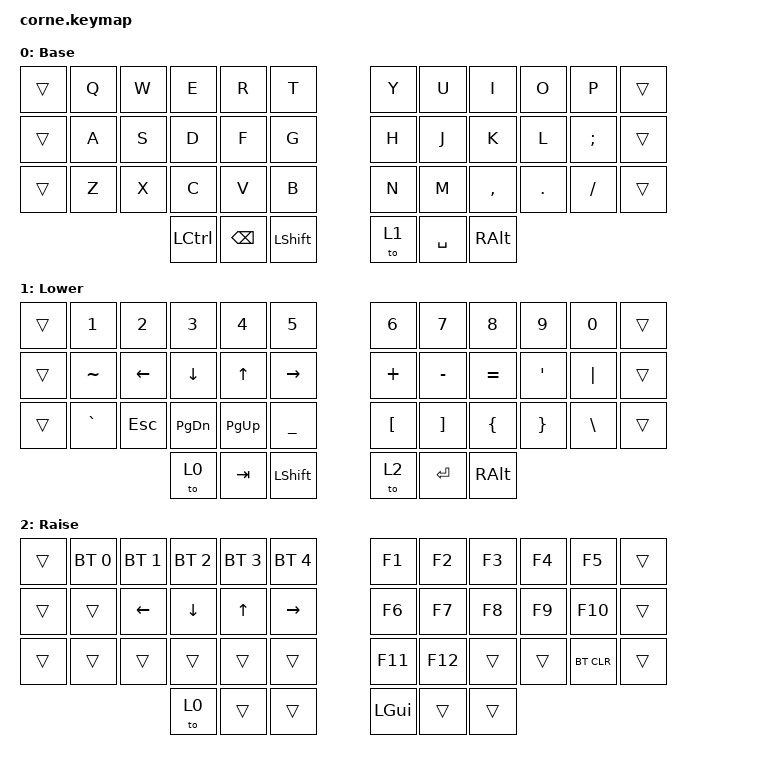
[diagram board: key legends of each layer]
/*
 * Copyright (c) 2020 The ZMK Contributors
 *
 * SPDX-License-Identifier: MIT
 */

#include <behaviors.dtsi>
#include <dt-bindings/zmk/bt.h>
#include <dt-bindings/zmk/keys.h>

/ {
    keymap {
        compatible = "zmk,keymap";

        default_layer {
            // -----------------------------------------------------------------------------------------
            // |  TAB |  Q  |  W  |  E  |  R  |  T  |   |  Y  |  U   |  I  |  O  |  P  | BKSP |
            // | CTRL |  A  |  S  |  D  |  F  |  G  |   |  H  |  J   |  K  |  L  |  ;  |  '   |
            // | SHFT |  Z  |  X  |  C  |  V  |  B  |   |  N  |  M   |  ,  |  .  |  /  | ESC  |
            //                    | GUI | LWR | SPC |   | ENT | RSE  | ALT |

            label = "Base";
            bindings = <
&trans  &kp Q  &kp W  &kp E      &kp R          &kp T        &kp Y  &kp U      &kp I      &kp O    &kp P     &trans
&trans  &kp A  &kp S  &kp D      &kp F          &kp G        &kp H  &kp J      &kp K      &kp L    &kp SEMI  &trans
&trans  &kp Z  &kp X  &kp C      &kp V          &kp B        &kp N  &kp M      &kp COMMA  &kp DOT  &kp FSLH  &trans
                      &kp LCTRL  &kp BACKSPACE  &kp LSHFT    &to 1  &kp SPACE  &kp RALT
            >;
        };

        lower_layer {
            // -----------------------------------------------------------------------------------------
            // |  TAB |  1  |  2  |  3  |  4  |  5  |   |  6  |  7  |  8  |  9  |  0  | BKSP |
            // | BTCLR| BT1 | BT2 | BT3 | BT4 | BT5 |   | LFT | DWN |  UP | RGT |     |      |
            // | SHFT |     |     |     |     |     |   |     |     |     |     |     |      |
            //                    | GUI |     | SPC |   | ENT |     | ALT |

            label = "Lower";
            bindings = <
&trans  &kp N1     &kp N2          &kp N3          &kp N4        &kp N5             &kp N6            &kp N7             &kp N8          &kp N9            &kp N0         &trans
&trans  &kp TILDE  &kp LEFT_ARROW  &kp DOWN_ARROW  &kp UP_ARROW  &kp RIGHT_ARROW    &kp PLUS          &kp MINUS          &kp EQUAL       &kp SINGLE_QUOTE  &kp PIPE       &trans
&trans  &kp GRAVE  &kp ESCAPE      &kp PAGE_DOWN   &kp PAGE_UP   &kp UNDERSCORE     &kp LEFT_BRACKET  &kp RIGHT_BRACKET  &kp LEFT_BRACE  &kp RIGHT_BRACE   &kp BACKSLASH  &trans
                                   &to 0           &kp TAB       &kp LEFT_SHIFT     &to 2             &kp ENTER          &kp RALT
            >;
        };

        raise_layer {
            // -----------------------------------------------------------------------------------------
            // |  TAB |  !  |  @  |  #  |  $  |  %  |   |  ^  |  &  |  *  |  (  |  )  | BKSP |
            // | CTRL |     |     |     |     |     |   |  -  |  =  |  [  |  ]  |  \  |  `   |
            // | SHFT |     |     |     |     |     |   |  _  |  +  |  {  |  }  | "|" |  ~   |
            //                    | GUI |     | SPC |   | ENT |     | ALT |

            label = "Raise";
            bindings = <
&trans  &bt BT_SEL 0  &bt BT_SEL 1    &bt BT_SEL 2    &bt BT_SEL 3  &bt BT_SEL 4       &kp F1    &kp F2   &kp F3  &kp F4  &kp F5      &trans
&trans  &trans        &kp LEFT_ARROW  &kp DOWN_ARROW  &kp UP_ARROW  &kp RIGHT_ARROW    &kp F6    &kp F7   &kp F8  &kp F9  &kp F10     &trans
&trans  &trans        &trans          &trans          &trans        &trans             &kp F11   &kp F12  &trans  &trans  &bt BT_CLR  &trans
                                      &to 0           &trans        &trans             &kp LGUI  &trans   &trans
            >;
        };
    };
};
